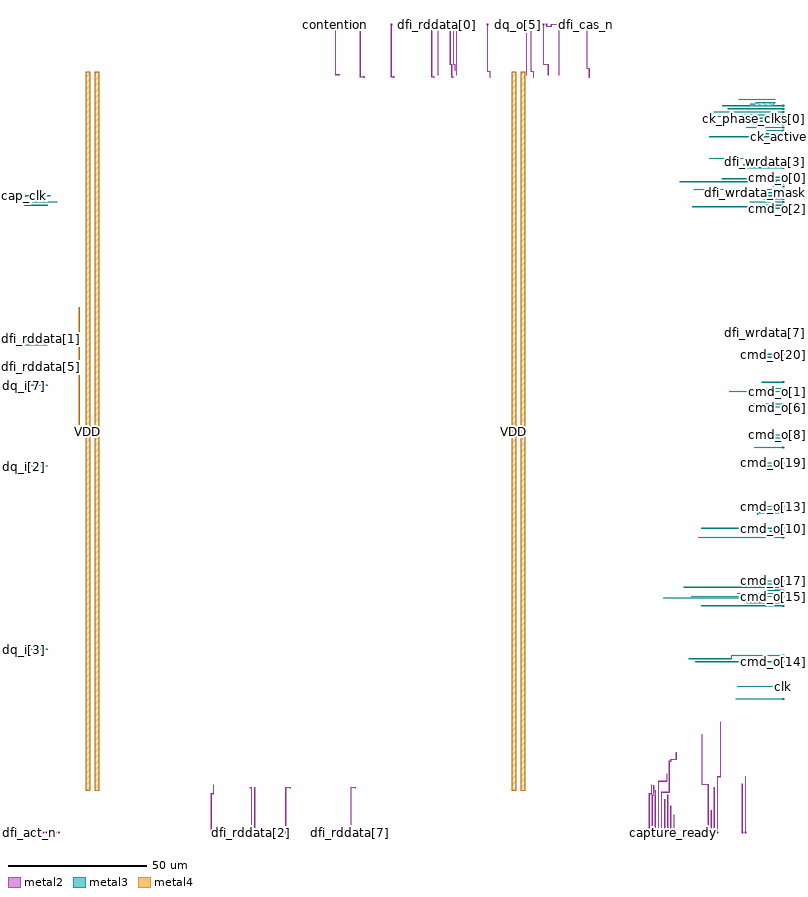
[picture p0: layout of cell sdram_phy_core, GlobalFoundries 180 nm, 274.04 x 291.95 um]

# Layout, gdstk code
import gdstk
lib = gdstk.Library(unit=1e-6, precision=1e-09)
def R(c, l, rs):  # rectangles x0, y0, x1, y1
    for r in rs: c.add(gdstk.rectangle(r[:2], r[2:], *l))
def A(c, l, x, y, w, h, nx, ny, dx, dy):  # array of equal rectangles
    R(c, l, [(x+i*dx, y+j*dy, x+i*dx+w, y+j*dy+h) for i in range(nx) for j in range(ny)])
def P(c, l, *ps):  # polygons
    for p in ps: c.add(gdstk.Polygon(p, *l))
metal2 = (36, 0)
metal3 = (42, 0)
metal4 = (46, 0)

sdram_phy_core = lib.new_cell('sdram_phy_core')
A(sdram_phy_core, metal2, 1.12, 0, 0.56, 0.56, 11, 1, 1.12, 0)
P(sdram_phy_core, metal2, [(234.08,0),(234.08,0.56),(234.22,0.56),(234.22,6.63),(234.5,6.63),(234.5,0.56),(234.64,0.56),(234.64,0)],
  [(230.72,0),(230.72,0.56),(230.86,0.56),(230.86,12.23),(231.14,12.23),(231.14,0.56),(231.28,0.56),(231.28,0)],
  [(232.96,0),(232.96,0.56),(233.1,0.56),(233.1,9.99),(233.38,9.99),(233.38,0.56),(233.52,0.56),(233.52,0)],
  [(231.84,0),(231.84,0.56),(231.98,0.56),(231.98,13.91),(232.26,13.91),(232.26,0.56),(232.4,0.56),(232.4,0)],
  [(259.84,0),(259.84,0.56),(259.98,0.56),(259.98,20.63),(260.26,20.63),(260.26,0.56),(260.4,0.56),(260.4,0)],
  [(258.72,0),(258.72,0.56),(258.86,0.56),(258.86,17.83),(259.14,17.83),(259.14,0.56),(259.28,0.56),(259.28,0)],
  [(113.54,273.37),(113.54,273.42),(112.14,273.42),(112.14,291.395),(112,291.395),(112,291.955),(112.56,291.955),(112.56,291.395),(112.42,291.395),(112.42,273.7),(113.54,273.7),(113.54,273.75),(113.82,273.75),(113.82,273.37)],
  [(249.76,0),(249.76,0.56),(249.9,0.56),(249.9,20.58),(251.02,20.58),(251.02,40.23),(251.3,40.23),(251.3,20.3),(250.18,20.3),(250.18,0.56),(250.32,0.56),(250.32,0)],
  [(246.4,0),(246.4,0.56),(246.54,0.56),(246.54,17.5),(244.3,17.5),(244.3,35.75),(244.58,35.75),(244.58,17.78),(246.82,17.78),(246.82,0.56),(246.96,0.56),(246.96,0)],
  [(247.52,0),(247.52,0.56),(247.66,0.56),(247.66,8.31),(247.94,8.31),(247.94,0.56),(248.08,0.56),(248.08,0)],
  [(248.64,0),(248.64,0.56),(248.78,0.56),(248.78,16.71),(249.06,16.71),(249.06,0.56),(249.2,0.56),(249.2,0)],
  [(203.7,272.53),(203.7,275.66),(202.86,275.66),(202.86,291.395),(202.72,291.395),(202.72,291.955),(203.28,291.955),(203.28,291.395),(203.14,291.395),(203.14,275.94),(203.98,275.94),(203.98,272.53)],
  [(147.7,272.53),(147.7,272.58),(146.86,272.58),(146.86,291.395),(146.72,291.395),(146.72,291.955),(147.28,291.955),(147.28,291.395),(147.14,291.395),(147.14,272.86),(147.7,272.86),(147.7,272.91),(147.98,272.91),(147.98,272.53)],
  [(149.1,273.37),(149.1,291.395),(148.96,291.395),(148.96,291.955),(149.52,291.955),(149.52,291.395),(149.38,291.395),(149.38,273.37)],
  [(82.88,0),(82.88,0.56),(83.02,0.56),(83.02,16.71),(83.3,16.71),(83.3,0.56),(83.44,0.56),(83.44,0)],
  [(81.76,0),(81.76,0.56),(81.9,0.56),(81.9,16.38),(81.62,16.38),(81.62,16.33),(81.34,16.33),(81.34,16.71),(81.62,16.71),(81.62,16.66),(82.18,16.66),(82.18,0.56),(82.32,0.56),(82.32,0)],
  [(94.08,0),(94.08,0.56),(94.22,0.56),(94.22,16.66),(95.9,16.66),(95.9,16.71),(96.18,16.71),(96.18,16.33),(95.9,16.33),(95.9,16.38),(94.5,16.38),(94.5,0.56),(94.64,0.56),(94.64,0)],
  [(117.6,0),(117.6,0.56),(117.74,0.56),(117.74,16.66),(119.42,16.66),(119.42,16.71),(119.7,16.71),(119.7,16.33),(119.42,16.33),(119.42,16.38),(118.02,16.38),(118.02,0.56),(118.16,0.56),(118.16,0)],
  [(181.02,273.37),(181.02,291.535),(180.18,291.535),(180.18,290.78),(178.22,290.78),(178.22,291.395),(178.08,291.395),(178.08,291.955),(178.64,291.955),(178.64,291.395),(178.5,291.395),(178.5,291.06),(179.9,291.06),(179.9,291.815),(181.3,291.815),(181.3,273.37)],
  [(183.54,272.53),(183.54,274.54),(182.7,274.54),(182.7,291.395),(182.56,291.395),(182.56,291.955),(183.12,291.955),(183.12,291.395),(182.98,291.395),(182.98,274.82),(183.82,274.82),(183.82,272.53)],
  [(154.42,272.53),(154.42,272.58),(154.14,272.58),(154.14,277.06),(153.58,277.06),(153.58,291.395),(153.44,291.395),(153.44,291.955),(154,291.955),(154,291.395),(153.86,291.395),(153.86,277.34),(154.42,277.34),(154.42,272.91),(154.7,272.91),(154.7,272.53)],
  [(155.26,275.05),(155.26,277.06),(154.7,277.06),(154.7,291.395),(154.56,291.395),(154.56,291.955),(155.12,291.955),(155.12,291.395),(154.98,291.395),(154.98,277.34),(155.54,277.34),(155.54,275.05)],
  [(155.82,273.37),(155.82,291.395),(155.68,291.395),(155.68,291.955),(156.24,291.955),(156.24,291.395),(156.1,291.395),(156.1,273.37)],
  [(167.86,272.53),(167.86,274.54),(167.02,274.54),(167.02,291.395),(166.88,291.395),(166.88,291.955),(167.44,291.955),(167.44,291.395),(167.3,291.395),(167.3,274.82),(168.14,274.82),(168.14,272.53)],
  [(122.5,272.53),(122.5,272.58),(121.1,272.58),(121.1,291.395),(120.96,291.395),(120.96,291.955),(121.52,291.955),(121.52,291.395),(121.38,291.395),(121.38,272.86),(122.5,272.86),(122.5,272.91),(122.78,272.91),(122.78,272.53)],
  [(133.14,272.53),(133.14,272.58),(132.3,272.58),(132.3,291.395),(132.16,291.395),(132.16,291.955),(132.72,291.955),(132.72,291.395),(132.58,291.395),(132.58,272.86),(133.14,272.86),(133.14,272.91),(133.42,272.91),(133.42,272.53)],
  [(67.2,0),(67.2,0.56),(67.34,0.56),(67.34,14.42),(68.18,14.42),(68.18,17.55),(68.46,17.55),(68.46,14.14),(67.62,14.14),(67.62,0.56),(67.76,0.56),(67.76,0)],
  [(188.86,273.37),(188.86,277.06),(187.18,277.06),(187.18,291.395),(187.04,291.395),(187.04,291.955),(187.6,291.955),(187.6,291.395),(187.46,291.395),(187.46,277.34),(189.14,277.34),(189.14,273.37)],
  [(192.78,273.37),(192.78,291.535),(190.26,291.535),(190.26,290.78),(188.3,290.78),(188.3,291.395),(188.16,291.395),(188.16,291.955),(188.72,291.955),(188.72,291.395),(188.58,291.395),(188.58,291.06),(189.98,291.06),(189.98,291.815),(193.06,291.815),(193.06,273.37)],
  [(228.48,0),(228.48,0.56),(228.62,0.56),(228.62,18.9),(231.7,18.9),(231.7,21.47),(231.98,21.47),(231.98,18.62),(228.9,18.62),(228.9,0.56),(229.04,0.56),(229.04,0)],
  [(229.6,0),(229.6,0.56),(229.74,0.56),(229.74,14.98),(232.54,14.98),(232.54,26.18),(233.1,26.18),(233.1,26.74),(235.06,26.74),(235.06,29.31),(235.34,29.31),(235.34,26.46),(233.38,26.46),(233.38,25.9),(232.82,25.9),(232.82,14.7),(230.02,14.7),(230.02,0.56),(230.16,0.56),(230.16,0)],
  [(227.36,0),(227.36,0.56),(227.5,0.56),(227.5,15.59),(227.78,15.59),(227.78,0.56),(227.92,0.56),(227.92,0)],
  [(226.24,0),(226.24,0.56),(226.38,0.56),(226.38,13.86),(226.94,13.86),(226.94,17.27),(227.22,17.27),(227.22,13.58),(226.66,13.58),(226.66,0.56),(226.8,0.56),(226.8,0)],
  [(225.12,0),(225.12,0.56),(225.26,0.56),(225.26,14.42),(226.1,14.42),(226.1,17.55),(226.38,17.55),(226.38,14.14),(225.54,14.14),(225.54,0.56),(225.68,0.56),(225.68,0)])
R(sdram_phy_core, metal3, [(240.89,225.82,270.95,226.1), (236.41,234.78,271.51,235.06), (261.89,262.78,270.39,263.06), (263.85,263.34,270.95,263.62), (257.69,264.46,270.95,264.74)])
P(sdram_phy_core, metal3, [(0,229.6),(0,230.16),(0.56,230.16),(0.56,230.02),(9.43,230.02),(9.43,229.74),(0.56,229.74),(0.56,229.6)],
  [(0,226.24),(0,226.8),(0.56,226.8),(0.56,226.66),(8.59,226.66),(8.59,226.38),(0.56,226.38),(0.56,226.24)],
  [(0,227.36),(0,227.92),(0.56,227.92),(0.56,227.78),(11.95,227.78),(11.95,227.5),(0.56,227.5),(0.56,227.36)],
  [(273.475,253.12),(273.475,253.26),(267.77,253.26),(267.77,253.54),(273.475,253.54),(273.475,253.68),(274.035,253.68),(274.035,253.12)],
  [(273.475,252),(273.475,252.14),(266.65,252.14),(266.65,252.42),(273.475,252.42),(273.475,252.56),(274.035,252.56),(274.035,252)],
  [(273.475,254.24),(273.475,254.38),(260.49,254.38),(260.49,254.66),(273.475,254.66),(273.475,254.8),(274.035,254.8),(274.035,254.24)],
  [(273.475,250.88),(273.475,251.02),(247.05,251.02),(247.05,251.3),(273.475,251.3),(273.475,251.44),(274.035,251.44),(274.035,250.88)],
  [(273.475,255.36),(273.475,255.5),(270.57,255.5),(270.57,255.78),(273.475,255.78),(273.475,255.92),(274.035,255.92),(274.035,255.36)],
  [(273.475,257.6),(273.475,257.74),(261.05,257.74),(261.05,258.02),(273.475,258.02),(273.475,258.16),(274.035,258.16),(274.035,257.6)],
  [(273.475,256.48),(273.475,256.62),(258.3,256.62),(258.3,258.3),(247.61,258.3),(247.61,258.58),(258.58,258.58),(258.58,256.9),(273.475,256.9),(273.475,257.04),(274.035,257.04),(274.035,256.48)],
  [(273.475,258.72),(273.475,258.86),(259.93,258.86),(259.93,259.14),(273.475,259.14),(273.475,259.28),(274.035,259.28),(274.035,258.72)],
  [(273.475,259.84),(273.475,259.98),(248.73,259.98),(248.73,260.26),(273.475,260.26),(273.475,260.4),(274.035,260.4),(274.035,259.84)],
  [(273.475,260.96),(273.475,261.1),(253.77,261.1),(253.77,261.38),(273.475,261.38),(273.475,261.52),(274.035,261.52),(274.035,260.96)],
  [(273.475,262.08),(273.475,262.22),(251.81,262.22),(251.81,262.5),(273.475,262.5),(273.475,262.64),(274.035,262.64),(274.035,262.08)],
  [(273.475,52.64),(273.475,52.78),(257.13,52.78),(257.13,53.06),(273.475,53.06),(273.475,53.2),(274.035,53.2),(274.035,52.64)],
  [(273.475,235.2),(273.475,235.34),(267.26,235.34),(267.26,235.9),(251.53,235.9),(251.53,236.18),(267.54,236.18),(267.54,235.62),(273.475,235.62),(273.475,235.76),(274.035,235.76),(274.035,235.2)],
  [(273.475,236.32),(273.475,236.46),(267.77,236.46),(267.77,236.74),(273.475,236.74),(273.475,236.88),(274.035,236.88),(274.035,236.32)],
  [(273.475,239.68),(273.475,239.82),(257.69,239.82),(257.69,240.1),(273.475,240.1),(273.475,240.24),(274.035,240.24),(274.035,239.68)],
  [(273.475,232.96),(273.475,233.1),(270.01,233.1),(270.01,233.38),(273.475,233.38),(273.475,233.52),(274.035,233.52),(274.035,232.96)],
  [(273.475,234.08),(273.475,234.22),(268.89,234.22),(268.89,234.5),(273.475,234.5),(273.475,234.64),(274.035,234.64),(274.035,234.08)],
  [(273.475,106.4),(273.475,106.54),(243.13,106.54),(243.13,106.82),(273.475,106.82),(273.475,106.96),(274.035,106.96),(274.035,106.4)],
  [(273.475,107.52),(273.475,107.66),(266.09,107.66),(266.09,107.94),(273.475,107.94),(273.475,108.08),(274.035,108.08),(274.035,107.52)],
  [(273.475,108.64),(273.475,108.78),(268.89,108.78),(268.89,109.06),(273.475,109.06),(273.475,109.2),(274.035,109.2),(274.035,108.64)],
  [(273.475,109.76),(273.475,109.9),(244.25,109.9),(244.25,110.18),(273.475,110.18),(273.475,110.32),(274.035,110.32),(274.035,109.76)],
  [(264.41,114.94),(264.41,115.22),(264.46,115.22),(264.46,115.78),(273.475,115.78),(273.475,115.92),(274.035,115.92),(274.035,115.36),(273.475,115.36),(273.475,115.5),(264.74,115.5),(264.74,115.22),(264.79,115.22),(264.79,114.94)],
  [(273.475,116.48),(273.475,116.62),(265.53,116.62),(265.53,116.9),(273.475,116.9),(273.475,117.04),(274.035,117.04),(274.035,116.48)],
  [(263.85,117.18),(263.85,117.46),(263.9,117.46),(263.9,118.02),(273.475,118.02),(273.475,118.16),(274.035,118.16),(274.035,117.6),(273.475,117.6),(273.475,117.74),(264.18,117.74),(264.18,117.46),(264.23,117.46),(264.23,117.18)],
  [(273.475,61.6),(273.475,61.74),(242.01,61.74),(242.01,62.02),(273.475,62.02),(273.475,62.16),(274.035,62.16),(274.035,61.6)],
  [(239.77,62.86),(239.77,63.14),(254.94,63.14),(254.94,64.26),(273.475,64.26),(273.475,64.4),(274.035,64.4),(274.035,63.84),(273.475,63.84),(273.475,63.98),(255.22,63.98),(255.22,62.86)],
  [(273.475,81.76),(273.475,81.9),(244.25,81.9),(244.25,82.18),(273.475,82.18),(273.475,82.32),(274.035,82.32),(274.035,81.76)],
  [(273.475,82.88),(273.475,83.02),(260.54,83.02),(260.54,84.7),(230.53,84.7),(230.53,84.98),(260.82,84.98),(260.82,83.3),(273.475,83.3),(273.475,83.44),(274.035,83.44),(274.035,82.88)],
  [(273.475,86.24),(273.475,86.38),(257.13,86.38),(257.13,86.66),(273.475,86.66),(273.475,86.8),(274.035,86.8),(274.035,86.24)],
  [(273.475,87.36),(273.475,87.5),(266.65,87.5),(266.65,87.78),(273.475,87.78),(273.475,87.92),(274.035,87.92),(274.035,87.36)],
  [(273.475,85.12),(273.475,85.26),(240.61,85.26),(240.61,85.54),(273.475,85.54),(273.475,85.68),(274.035,85.68),(274.035,85.12)],
  [(273.475,88.48),(273.475,88.62),(237.81,88.62),(237.81,88.9),(273.475,88.9),(273.475,89.04),(274.035,89.04),(274.035,88.48)],
  [(273.475,89.6),(273.475,89.74),(266.09,89.74),(266.09,90.02),(273.475,90.02),(273.475,90.16),(274.035,90.16),(274.035,89.6)],
  [(273.475,90.72),(273.475,90.86),(263.29,90.86),(263.29,91.14),(273.475,91.14),(273.475,91.28),(274.035,91.28),(274.035,90.72)],
  [(273.475,132.16),(273.475,132.3),(266.09,132.3),(266.09,132.58),(273.475,132.58),(273.475,132.72),(274.035,132.72),(274.035,132.16)],
  [(273.475,133.28),(273.475,133.42),(259.37,133.42),(259.37,133.7),(273.475,133.7),(273.475,133.84),(274.035,133.84),(274.035,133.28)],
  [(273.475,159.04),(273.475,159.18),(254.33,159.18),(254.33,159.46),(273.475,159.46),(273.475,159.6),(274.035,159.6),(274.035,159.04)],
  [(273.475,160.16),(273.475,160.3),(265.53,160.3),(265.53,160.58),(273.475,160.58),(273.475,160.72),(274.035,160.72),(274.035,160.16)],
  [(273.475,162.4),(273.475,162.54),(266.09,162.54),(266.09,162.82),(273.475,162.82),(273.475,162.96),(274.035,162.96),(274.035,162.4)],
  [(273.475,171.36),(273.475,171.5),(265.25,171.5),(265.25,171.78),(273.475,171.78),(273.475,171.92),(274.035,171.92),(274.035,171.36)],
  [(273.475,172.48),(273.475,172.62),(259.93,172.62),(259.93,172.9),(273.475,172.9),(273.475,173.04),(274.035,173.04),(274.035,172.48)],
  [(273.475,225.12),(273.475,225.26),(263.85,225.26),(263.85,225.54),(273.475,225.54),(273.475,225.68),(274.035,225.68),(274.035,225.12)],
  [(273.475,226.24),(273.475,226.38),(264.41,226.38),(264.41,226.66),(273.475,226.66),(273.475,226.8),(274.035,226.8),(274.035,226.24)],
  [(273.475,227.36),(273.475,227.5),(261.61,227.5),(261.61,227.78),(273.475,227.78),(273.475,227.92),(274.035,227.92),(274.035,227.36)],
  [(273.475,228.48),(273.475,228.62),(266.65,228.62),(266.65,228.9),(273.475,228.9),(273.475,229.04),(274.035,229.04),(274.035,228.48)],
  [(273.475,229.6),(273.475,229.74),(267.21,229.74),(267.21,230.02),(273.475,230.02),(273.475,230.16),(274.035,230.16),(274.035,229.6)],
  [(273.475,230.72),(273.475,230.86),(268.33,230.86),(268.33,231.14),(273.475,231.14),(273.475,231.28),(274.035,231.28),(274.035,230.72)],
  [(273.475,231.84),(273.475,231.98),(241.45,231.98),(241.45,232.26),(273.475,232.26),(273.475,232.4),(274.035,232.4),(274.035,231.84)],
  [(273.475,153.44),(273.475,153.58),(264.41,153.58),(264.41,153.86),(273.475,153.86),(273.475,154),(274.035,154),(274.035,153.44)],
  [(273.475,154.56),(273.475,154.7),(261.61,154.7),(261.61,154.98),(273.475,154.98),(273.475,155.12),(274.035,155.12),(274.035,154.56)],
  [(273.475,142.24),(273.475,142.38),(266.09,142.38),(266.09,142.66),(273.475,142.66),(273.475,142.8),(274.035,142.8),(274.035,142.24)],
  [(273.475,143.36),(273.475,143.5),(264.41,143.5),(264.41,143.78),(273.475,143.78),(273.475,143.92),(274.035,143.92),(274.035,143.36)],
  [(273.475,138.88),(273.475,139.02),(263.29,139.02),(263.29,139.3),(273.475,139.3),(273.475,139.44),(274.035,139.44),(274.035,138.88)],
  [(0,178.08),(0,178.64),(0.56,178.64),(0.56,178.5),(9.43,178.5),(9.43,178.22),(0.56,178.22),(0.56,178.08)],
  [(0,175.84),(0,176.4),(0.56,176.4),(0.56,176.26),(8.59,176.26),(8.59,175.98),(0.56,175.98),(0.56,175.84)],
  [(0,176.96),(0,177.52),(0.56,177.52),(0.56,177.38),(12.79,177.38),(12.79,177.1),(0.56,177.1),(0.56,176.96)],
  [(0,168),(0,168.56),(0.56,168.56),(0.56,168.42),(9.43,168.42),(9.43,168.14),(0.56,168.14),(0.56,168)],
  [(273.475,243.04),(273.475,243.18),(247.05,243.18),(247.05,243.46),(273.475,243.46),(273.475,243.6),(274.035,243.6),(274.035,243.04)],
  [(273.475,241.92),(273.475,242.06),(269.45,242.06),(269.45,242.34),(273.475,242.34),(273.475,242.48),(274.035,242.48),(274.035,241.92)],
  [(273.475,240.8),(273.475,240.94),(259.37,240.94),(259.37,241.22),(273.475,241.22),(273.475,241.36),(274.035,241.36),(274.035,240.8)],
  [(273.475,179.2),(273.475,179.34),(263.85,179.34),(263.85,179.62),(273.475,179.62),(273.475,179.76),(274.035,179.76),(274.035,179.2)],
  [(273.475,180.32),(273.475,180.46),(266.09,180.46),(266.09,180.74),(273.475,180.74),(273.475,180.88),(274.035,180.88),(274.035,180.32)],
  [(273.475,181.44),(273.475,181.58),(264.41,181.58),(264.41,181.86),(273.475,181.86),(273.475,182),(274.035,182),(274.035,181.44)],
  [(0,132.16),(0,132.72),(0.56,132.72),(0.56,132.58),(8.59,132.58),(8.59,132.3),(0.56,132.3),(0.56,132.16)],
  [(0,66.08),(0,66.64),(0.56,66.64),(0.56,66.5),(8.59,66.5),(8.59,66.22),(0.56,66.22),(0.56,66.08)],
  [(0,161.28),(0,161.84),(0.56,161.84),(0.56,161.7),(8.59,161.7),(8.59,161.42),(0.56,161.42),(0.56,161.28)],
  [(273.475,48.16),(273.475,48.3),(256.57,48.3),(256.57,48.58),(273.475,48.58),(273.475,48.72),(274.035,48.72),(274.035,48.16)])
R(sdram_phy_core, metal4, [(22.24,15.38,23.84,274.7), (25.54,15.38,27.14,274.7), (175.84,15.38,177.44,274.7), (179.14,15.38,180.74,274.7), (19.74,147.37,20.02,189.75)])
sdram_phy_core.add(gdstk.Label('capture_ready', (234.36,0.28), layer=36, texttype=10))
sdram_phy_core.add(gdstk.Label('cmd_o[11]', (260.12,0.28), layer=36, texttype=10))
sdram_phy_core.add(gdstk.Label('cmd_o[12]', (259,0.28), layer=36, texttype=10))
sdram_phy_core.add(gdstk.Label('contention', (112.28,291.675), layer=36, texttype=10))
sdram_phy_core.add(gdstk.Label('dfi_act_n', (1.4,0.28), layer=36, texttype=10))
sdram_phy_core.add(gdstk.Label('dfi_address[3]', (248.92,0.28), layer=36, texttype=10))
sdram_phy_core.add(gdstk.Label('dfi_address[4]', (247.8,0.28), layer=36, texttype=10))
sdram_phy_core.add(gdstk.Label('dfi_address[6]', (250.04,0.28), layer=36, texttype=10))
sdram_phy_core.add(gdstk.Label('dfi_address[8]', (246.68,0.28), layer=36, texttype=10))
sdram_phy_core.add(gdstk.Label('dfi_cas_n', (203,291.675), layer=36, texttype=10))
sdram_phy_core.add(gdstk.Label('dfi_odt', (2.52,0.28), layer=36, texttype=10))
sdram_phy_core.add(gdstk.Label('dfi_rddata[0]', (149.24,291.675), layer=36, texttype=10))
sdram_phy_core.add(gdstk.Label('dfi_rddata[2]', (82.04,0.28), layer=36, texttype=10))
sdram_phy_core.add(gdstk.Label('dfi_rddata[3]', (83.16,0.28), layer=36, texttype=10))
sdram_phy_core.add(gdstk.Label('dfi_rddata[4]', (94.36,0.28), layer=36, texttype=10))
sdram_phy_core.add(gdstk.Label('dfi_rddata[7]', (117.88,0.28), layer=36, texttype=10))
sdram_phy_core.add(gdstk.Label('dfi_reset_n', (3.64,0.28), layer=36, texttype=10))
sdram_phy_core.add(gdstk.Label('dfi_wrdata[0]', (182.84,291.675), layer=36, texttype=10))
sdram_phy_core.add(gdstk.Label('dfi_wrdata[1]', (154.84,291.675), layer=36, texttype=10))
sdram_phy_core.add(gdstk.Label('dfi_wrdata[2]', (153.72,291.675), layer=36, texttype=10))
sdram_phy_core.add(gdstk.Label('dfi_wrdata[4]', (167.16,291.675), layer=36, texttype=10))
sdram_phy_core.add(gdstk.Label('dfi_wrdata[5]', (147,291.675), layer=36, texttype=10))
sdram_phy_core.add(gdstk.Label('dfi_wrdata[6]', (121.24,291.675), layer=36, texttype=10))
sdram_phy_core.add(gdstk.Label('dq_i[0]', (132.44,291.675), layer=36, texttype=10))
sdram_phy_core.add(gdstk.Label('dq_i[4]', (67.48,0.28), layer=36, texttype=10))
sdram_phy_core.add(gdstk.Label('dq_o[1]', (188.44,291.675), layer=36, texttype=10))
sdram_phy_core.add(gdstk.Label('dq_o[2]', (187.32,291.675), layer=36, texttype=10))
sdram_phy_core.add(gdstk.Label('dq_o[5]', (178.36,291.675), layer=36, texttype=10))
sdram_phy_core.add(gdstk.Label('dq_o[6]', (155.96,291.675), layer=36, texttype=10))
sdram_phy_core.add(gdstk.Label('pad_config[0]', (4.76,0.28), layer=36, texttype=10))
sdram_phy_core.add(gdstk.Label('pad_config[1]', (5.88,0.28), layer=36, texttype=10))
sdram_phy_core.add(gdstk.Label('pad_config[2]', (7,0.28), layer=36, texttype=10))
sdram_phy_core.add(gdstk.Label('pad_config[3]', (8.12,0.28), layer=36, texttype=10))
sdram_phy_core.add(gdstk.Label('pad_config[4]', (9.24,0.28), layer=36, texttype=10))
sdram_phy_core.add(gdstk.Label('pad_config[5]', (10.36,0.28), layer=36, texttype=10))
sdram_phy_core.add(gdstk.Label('pad_config[6]', (11.48,0.28), layer=36, texttype=10))
sdram_phy_core.add(gdstk.Label('pad_config[7]', (12.6,0.28), layer=36, texttype=10))
sdram_phy_core.add(gdstk.Label('phase_clks[0]', (229.88,0.28), layer=36, texttype=10))
sdram_phy_core.add(gdstk.Label('phase_clks[1]', (225.4,0.28), layer=36, texttype=10))
sdram_phy_core.add(gdstk.Label('phase_clks[2]', (228.76,0.28), layer=36, texttype=10))
sdram_phy_core.add(gdstk.Label('phase_clks[3]', (231,0.28), layer=36, texttype=10))
sdram_phy_core.add(gdstk.Label('phase_clocks_ready', (233.24,0.28), layer=36, texttype=10))
sdram_phy_core.add(gdstk.Label('phase_sel[0]', (227.64,0.28), layer=36, texttype=10))
sdram_phy_core.add(gdstk.Label('phase_sel[1]', (232.12,0.28), layer=36, texttype=10))
sdram_phy_core.add(gdstk.Label('phase_sel_valid', (226.52,0.28), layer=36, texttype=10))
sdram_phy_core.add(gdstk.Label('cap_clk', (0.28,229.88), layer=42, texttype=10))
sdram_phy_core.add(gdstk.Label('ck_active', (273.755,251.16), layer=42, texttype=10))
sdram_phy_core.add(gdstk.Label('ck_o', (273.755,255.64), layer=42, texttype=10))
sdram_phy_core.add(gdstk.Label('ck_phase_clks[0]', (273.755,257.88), layer=42, texttype=10))
sdram_phy_core.add(gdstk.Label('ck_phase_clks[1]', (273.755,262.36), layer=42, texttype=10))
sdram_phy_core.add(gdstk.Label('ck_phase_clks[2]', (273.755,261.24), layer=42, texttype=10))
sdram_phy_core.add(gdstk.Label('ck_phase_clks[3]', (273.755,256.76), layer=42, texttype=10))
sdram_phy_core.add(gdstk.Label('ck_phase_clocks_ready', (273.755,253.4), layer=42, texttype=10))
sdram_phy_core.add(gdstk.Label('ck_phase_sel[0]', (273.755,260.12), layer=42, texttype=10))
sdram_phy_core.add(gdstk.Label('ck_phase_sel[1]', (273.755,259), layer=42, texttype=10))
sdram_phy_core.add(gdstk.Label('clk', (273.755,52.92), layer=42, texttype=10))
sdram_phy_core.add(gdstk.Label('cmd_o[0]', (273.755,236.6), layer=42, texttype=10))
sdram_phy_core.add(gdstk.Label('cmd_o[10]', (273.755,110.04), layer=42, texttype=10))
sdram_phy_core.add(gdstk.Label('cmd_o[13]', (273.755,117.88), layer=42, texttype=10))
sdram_phy_core.add(gdstk.Label('cmd_o[14]', (273.755,61.88), layer=42, texttype=10))
sdram_phy_core.add(gdstk.Label('cmd_o[15]', (273.755,85.4), layer=42, texttype=10))
sdram_phy_core.add(gdstk.Label('cmd_o[16]', (273.755,64.12), layer=42, texttype=10))
sdram_phy_core.add(gdstk.Label('cmd_o[17]', (273.755,91), layer=42, texttype=10))
sdram_phy_core.add(gdstk.Label('cmd_o[18]', (273.755,106.68), layer=42, texttype=10))
sdram_phy_core.add(gdstk.Label('cmd_o[19]', (273.755,133.56), layer=42, texttype=10))
sdram_phy_core.add(gdstk.Label('cmd_o[1]', (273.755,159.32), layer=42, texttype=10))
sdram_phy_core.add(gdstk.Label('cmd_o[20]', (273.755,172.76), layer=42, texttype=10))
sdram_phy_core.add(gdstk.Label('cmd_o[2]', (273.755,225.4), layer=42, texttype=10))
sdram_phy_core.add(gdstk.Label('cmd_o[3]', (273.755,226.52), layer=42, texttype=10))
sdram_phy_core.add(gdstk.Label('cmd_o[4]', (273.755,232.12), layer=42, texttype=10))
sdram_phy_core.add(gdstk.Label('cmd_o[5]', (273.755,235.48), layer=42, texttype=10))
sdram_phy_core.add(gdstk.Label('cmd_o[6]', (273.755,153.72), layer=42, texttype=10))
sdram_phy_core.add(gdstk.Label('cmd_o[7]', (273.755,83.16), layer=42, texttype=10))
sdram_phy_core.add(gdstk.Label('cmd_o[8]', (273.755,143.64), layer=42, texttype=10))
sdram_phy_core.add(gdstk.Label('cmd_o[9]', (273.755,88.76), layer=42, texttype=10))
sdram_phy_core.add(gdstk.Label('dfi_address[0]', (273.755,142.52), layer=42, texttype=10))
sdram_phy_core.add(gdstk.Label('dfi_address[10]', (273.755,107.8), layer=42, texttype=10))
sdram_phy_core.add(gdstk.Label('dfi_address[11]', (273.755,132.44), layer=42, texttype=10))
sdram_phy_core.add(gdstk.Label('dfi_address[12]', (273.755,171.64), layer=42, texttype=10))
sdram_phy_core.add(gdstk.Label('dfi_address[1]', (273.755,87.64), layer=42, texttype=10))
sdram_phy_core.add(gdstk.Label('dfi_address[2]', (273.755,108.92), layer=42, texttype=10))
sdram_phy_core.add(gdstk.Label('dfi_address[5]', (273.755,116.76), layer=42, texttype=10))
sdram_phy_core.add(gdstk.Label('dfi_address[7]', (273.755,86.52), layer=42, texttype=10))
sdram_phy_core.add(gdstk.Label('dfi_address[9]', (273.755,89.88), layer=42, texttype=10))
sdram_phy_core.add(gdstk.Label('dfi_bank[0]', (273.755,154.84), layer=42, texttype=10))
sdram_phy_core.add(gdstk.Label('dfi_bank[1]', (273.755,82.04), layer=42, texttype=10))
sdram_phy_core.add(gdstk.Label('dfi_cke', (273.755,160.44), layer=42, texttype=10))
sdram_phy_core.add(gdstk.Label('dfi_cs_n', (273.755,229.88), layer=42, texttype=10))
sdram_phy_core.add(gdstk.Label('dfi_ras_n', (273.755,227.64), layer=42, texttype=10))
sdram_phy_core.add(gdstk.Label('dfi_rddata[1]', (0.28,178.36), layer=42, texttype=10))
sdram_phy_core.add(gdstk.Label('dfi_rddata[5]', (0.28,168.28), layer=42, texttype=10))
sdram_phy_core.add(gdstk.Label('dfi_rddata[6]', (0.28,177.24), layer=42, texttype=10))
sdram_phy_core.add(gdstk.Label('dfi_rddata_en', (273.755,162.68), layer=42, texttype=10))
sdram_phy_core.add(gdstk.Label('dfi_rddata_valid', (273.755,139.16), layer=42, texttype=10))
sdram_phy_core.add(gdstk.Label('dfi_we_n', (273.755,233.24), layer=42, texttype=10))
sdram_phy_core.add(gdstk.Label('dfi_wrdata[3]', (273.755,242.2), layer=42, texttype=10))
sdram_phy_core.add(gdstk.Label('dfi_wrdata[7]', (273.755,180.6), layer=42, texttype=10))
sdram_phy_core.add(gdstk.Label('dfi_wrdata_en', (273.755,228.76), layer=42, texttype=10))
sdram_phy_core.add(gdstk.Label('dfi_wrdata_mask', (273.755,231), layer=42, texttype=10))
sdram_phy_core.add(gdstk.Label('dq_i[1]', (0.28,227.64), layer=42, texttype=10))
sdram_phy_core.add(gdstk.Label('dq_i[2]', (0.28,132.44), layer=42, texttype=10))
sdram_phy_core.add(gdstk.Label('dq_i[3]', (0.28,66.36), layer=42, texttype=10))
sdram_phy_core.add(gdstk.Label('dq_i[5]', (0.28,176.12), layer=42, texttype=10))
sdram_phy_core.add(gdstk.Label('dq_i[6]', (0.28,226.52), layer=42, texttype=10))
sdram_phy_core.add(gdstk.Label('dq_i[7]', (0.28,161.56), layer=42, texttype=10))
sdram_phy_core.add(gdstk.Label('dq_o[0]', (273.755,241.08), layer=42, texttype=10))
sdram_phy_core.add(gdstk.Label('dq_o[3]', (273.755,243.32), layer=42, texttype=10))
sdram_phy_core.add(gdstk.Label('dq_o[4]', (273.755,239.96), layer=42, texttype=10))
sdram_phy_core.add(gdstk.Label('dq_o[7]', (273.755,179.48), layer=42, texttype=10))
sdram_phy_core.add(gdstk.Label('dq_oe', (273.755,234.36), layer=42, texttype=10))
sdram_phy_core.add(gdstk.Label('io_power_ok', (273.755,254.52), layer=42, texttype=10))
sdram_phy_core.add(gdstk.Label('pad_ready', (273.755,252.28), layer=42, texttype=10))
sdram_phy_core.add(gdstk.Label('read_latency_error', (273.755,115.64), layer=42, texttype=10))
sdram_phy_core.add(gdstk.Label('rst', (273.755,48.44), layer=42, texttype=10))
sdram_phy_core.add(gdstk.Label('turnaround_busy', (273.755,181.72), layer=42, texttype=10))
sdram_phy_core.add(gdstk.Label('VDD', (176.64,145.04), layer=46, texttype=10))
sdram_phy_core.add(gdstk.Label('VDD', (23.04,145.04), layer=46, texttype=10))
sdram_phy_core.add(gdstk.Label('VSS', (179.94,145.04), layer=46, texttype=10))
sdram_phy_core.add(gdstk.Label('VSS', (26.34,145.04), layer=46, texttype=10))

lib.write_gds('sdram_phy_core.gds')
